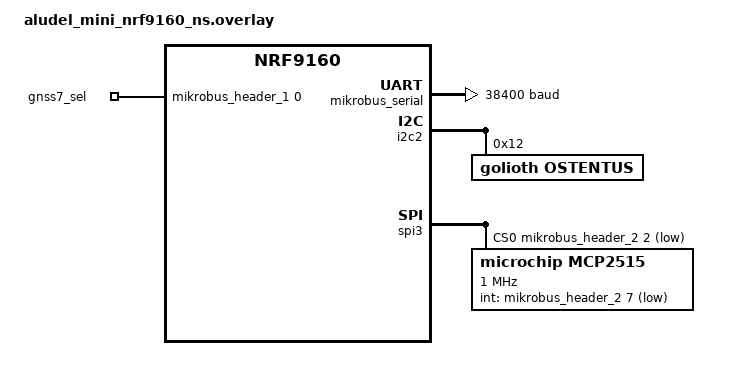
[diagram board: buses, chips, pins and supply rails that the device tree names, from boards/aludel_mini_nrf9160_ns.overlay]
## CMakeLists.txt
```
# Copyright (c) 2022-2023 Golioth, Inc.
# SPDX-License-Identifier: Apache-2.0

cmake_minimum_required(VERSION 3.20.0)

if((BOARD STREQUAL nrf9160dk_nrf9160) OR (BOARD STREQUAL nrf9160dk_nrf9160_ns))
  set(SHIELD "arduino_uno_click")
endif()

find_package(Zephyr REQUIRED HINTS $ENV{ZEPHYR_BASE})

project(can_asset_tracker)

include_directories(src/lib/inc)
add_compile_definitions(timegm=mktime)
target_sources(app PRIVATE src/lib/minmea/minmea.c)

target_sources(app PRIVATE src/main.c)
target_sources(app PRIVATE src/app_rpc.c)
target_sources(app PRIVATE src/app_settings.c)
target_sources(app PRIVATE src/app_state.c)
target_sources(app PRIVATE src/app_sensors.c)

add_subdirectory_ifdef(CONFIG_ALUDEL_BATTERY_MONITOR src/battery_monitor)
```

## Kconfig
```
# Copyright (c) 2022 Golioth, Inc.
# SPDX-License-Identifier: Apache-2.0

mainmenu "Golioth application options"

if DNS_RESOLVER

config DNS_SERVER_IP_ADDRESSES
	default y

config DNS_SERVER1
	default "1.1.1.1"

endif # DNS_RESOLVER

rsource "src/battery_monitor/Kconfig"

source "Kconfig.zephyr"

menu "Nordic Sta sample"

config CONNECTION_IDLE_TIMEOUT
	int "Time to be waited for a station to connect"
	default 30

config STA_SAMPLE_SSID
	string "SSID"
	help
	  Specify the SSID to connect

choice  STA_KEY_MGMT_SELECT
	prompt "Security Option"
	default STA_KEY_MGMT_WPA3

config STA_KEY_MGMT_NONE
	bool "Open Security"
	help
	  Enable for Open Security

config STA_KEY_MGMT_WPA2
	bool "WPA2 Security"
	help
	  Enable for WPA2 Security

config STA_KEY_MGMT_WPA2_256
	bool "WPA2 SHA 256 Security"
	help
	  Enable for WPA2-PSK-256 Security

config STA_KEY_MGMT_WPA3
	bool "WPA3 Security"
	help
	  Enable for WPA3 Security
endchoice

config STA_SAMPLE_PASSWORD
	string "Passphrase (WPA2) or password (WPA3)"
	help
	  Specify the Password to connect

config NRF700X_QSPI_ENCRYPTION_KEY
	string "16 bytes QSPI encryption key, only for testing purposes"
	depends on BOARD_NRF7002DK_NRF5340
	help
	  Specify the QSPI encryption key
endmenu
```

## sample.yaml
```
# Copyright (c) 2022-2023 Golioth, Inc.
# SPDX-License-Identifier: Apache-2.0

sample:
  description: Golioth Reference Design - CAN Asset Tracker
  name: can_asset_tracker
common:
  harness: net
  platform_allow: >
    nrf9160dk_nrf9160_ns
  tags: golioth
```

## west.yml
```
# Copyright (c) 2024 Golioth, Inc.
# SPDX-License-Identifier: Apache-2.0

manifest:
  version: 0.8

  projects:
    - name: golioth
      path: modules/lib/golioth-firmware-sdk
      revision: v0.16.0
      url: https://github.com/golioth/golioth-firmware-sdk.git
      west-commands: scripts/west-commands.yml
      submodules: true
      import:
        file: west-ncs.yml
        path-prefix: deps
        name-allowlist:
          - nrf
          - zephyr
          - cmsis
          - hal_nordic
          - mbedtls
          - mbedtls-nrf
          - mcuboot
          - net-tools
          - nrfxlib
          - oberon-psa-crypto
          - qcbor
          - segger
          - qcbor
          - tfm-mcuboot
          - tinycrypt
          - trusted-firmware-m
          - zcbor

    - name: golioth-zephyr-boards
      path: deps/modules/lib/golioth-boards
      revision: v2.0.1
      url: https://github.com/golioth/golioth-zephyr-boards

    - name: libostentus
      path: deps/modules/lib/libostentus
      revision: v2.0.0
      url: https://github.com/golioth/libostentus

    - name: zephyr-network-info
      path: deps/modules/lib/network-info
      revision: v1.2.0
      url: https://github.com/golioth/zephyr-network-info

    - name: minmea
      path: app/src/lib/minmea
      revision: 85439b97dd4984c5efb84ce954b85088e781dae8
      url: https://github.com/kosma/minmea.git

  self:
    path: app
```

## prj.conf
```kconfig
# Copyright (c) 2024 Golioth, Inc.
# SPDX-License-Identifier: Apache-2.0

# Enable Golioth Firmware SDK
CONFIG_GOLIOTH_FIRMWARE_SDK=y

# Golioth services used in this app
CONFIG_GOLIOTH_FW_UPDATE=y
CONFIG_GOLIOTH_LIGHTDB_STATE=y
CONFIG_LOG_BACKEND_GOLIOTH=y
CONFIG_GOLIOTH_RPC=y
CONFIG_GOLIOTH_SETTINGS=y
CONFIG_GOLIOTH_STREAM=y

# Enable common sample library
CONFIG_GOLIOTH_SAMPLE_COMMON=y

# Configure Golioth SDK dependencies
CONFIG_ZVFS_EVENTFD_MAX=14
CONFIG_ZVFS_OPEN_MAX=23
CONFIG_LOG_PROCESS_THREAD_STACK_SIZE=1536
CONFIG_MBEDTLS_ENABLE_HEAP=y
CONFIG_MBEDTLS_HEAP_SIZE=10240
CONFIG_MBEDTLS_SSL_IN_CONTENT_LEN=2048
CONFIG_MBEDTLS_SSL_OUT_CONTENT_LEN=2048
CONFIG_NETWORKING=y
CONFIG_NET_IPV4=y

# Application
CONFIG_MAIN_STACK_SIZE=2048
CONFIG_SYSTEM_WORKQUEUE_STACK_SIZE=2048
CONFIG_NET_LOG=y
CONFIG_NET_SHELL=y
CONFIG_REBOOT=y

# Flash memory (etc.) for firmware upgrade
CONFIG_FLASH=y
CONFIG_FLASH_MAP=y
CONFIG_NVS=y
CONFIG_STREAM_FLASH=y
CONFIG_IMG_MANAGER=y
CONFIG_IMG_ERASE_PROGRESSIVELY=y
CONFIG_REBOOT=y

# The rest of the runtime credentials config
CONFIG_SETTINGS=y
CONFIG_SETTINGS_RUNTIME=y
CONFIG_GOLIOTH_SAMPLE_SETTINGS=y
CONFIG_GOLIOTH_SAMPLE_SETTINGS_AUTOLOAD=y
CONFIG_GOLIOTH_SAMPLE_SETTINGS_SHELL=y

# Misc.
CONFIG_JSON_LIBRARY=y
CONFIG_NETWORK_INFO=y
# Longer response length needed for network info
CONFIG_GOLIOTH_RPC_MAX_RESPONSE_LEN=512
CONFIG_I2C=y
CONFIG_GPIO=y

# CAN interface
CONFIG_SERIAL=y
CONFIG_UART_INTERRUPT_DRIVEN=y
CONFIG_CAN=y
```

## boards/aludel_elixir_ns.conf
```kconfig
# Copyright (c) 2024 Golioth, Inc.
# SPDX-License-Identifier: Apache-2.0

# General config
CONFIG_HEAP_MEM_POOL_SIZE=4096
CONFIG_NEWLIB_LIBC=y
CONFIG_CBPRINTF_FP_SUPPORT=y

# Networking
CONFIG_NET_SOCKETS_OFFLOAD=y
CONFIG_NET_IPV6=y
CONFIG_NET_IPV6_NBR_CACHE=n
CONFIG_NET_IPV6_MLD=n

# Increase native TLS socket implementation, so that it is chosen instead of
# offloaded nRF91 sockets
CONFIG_NET_SOCKETS_TLS_PRIORITY=35

# Modem library
CONFIG_NRF_MODEM_LIB=y

# LTE connectivity with network connection manager
CONFIG_NRF_MODEM_LIB_NET_IF=y
CONFIG_NRF_MODEM_LIB_NET_IF_AUTO_START=y
CONFIG_NRF_MODEM_LIB_NET_IF_AUTO_CONNECT=n
CONFIG_NET_CONNECTION_MANAGER=y
CONFIG_NET_CONNECTION_MANAGER_MONITOR_STACK_SIZE=1024

# Add Logs for LTE Link Handler
CONFIG_GOLIOTH_SAMPLE_NRF91_LTE_MONITOR=y

# Disable options y-selected by NCS for no good reason
CONFIG_MBEDTLS_KEY_EXCHANGE_DHE_PSK_ENABLED=n
CONFIG_MBEDTLS_KEY_EXCHANGE_DHE_RSA_ENABLED=n

# MbedTLS configuration to support p-384 curve. These options
# enable using the MbedTLS built-in support for operations not
# supported by the default nRF Oberon crypto backend
CONFIG_NORDIC_SECURITY_BACKEND=n
CONFIG_MBEDTLS_LEGACY_CRYPTO_C=y

# Add Network Info Support
CONFIG_MODEM_INFO=y

# Generate MCUboot compatible images
CONFIG_BOOTLOADER_MCUBOOT=y

# Use Golioth Ostentus Faceplate
CONFIG_LIB_OSTENTUS=y

CONFIG_REGULATOR=y

# CAN init priority is lower than SPI init priority by default
# See https://github.com/zephyrproject-rtos/zephyr/issues/55745
CONFIG_CAN_INIT_PRIORITY=80
```

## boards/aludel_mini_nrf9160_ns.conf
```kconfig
# Copyright (c) 2024 Golioth, Inc.
# SPDX-License-Identifier: Apache-2.0

# General config
CONFIG_HEAP_MEM_POOL_SIZE=4096
CONFIG_NEWLIB_LIBC=y
CONFIG_CBPRINTF_FP_SUPPORT=y

# Networking
CONFIG_NET_SOCKETS_OFFLOAD=y
CONFIG_NET_IPV6=y
CONFIG_NET_IPV6_NBR_CACHE=n
CONFIG_NET_IPV6_MLD=n

# Increase native TLS socket implementation, so that it is chosen instead of
# offloaded nRF91 sockets
CONFIG_NET_SOCKETS_TLS_PRIORITY=35

# Modem library
CONFIG_NRF_MODEM_LIB=y

# LTE connectivity with network connection manager
CONFIG_NRF_MODEM_LIB_NET_IF=y
CONFIG_NRF_MODEM_LIB_NET_IF_AUTO_START=y
CONFIG_NRF_MODEM_LIB_NET_IF_AUTO_CONNECT=n
CONFIG_NET_CONNECTION_MANAGER=y
CONFIG_NET_CONNECTION_MANAGER_MONITOR_STACK_SIZE=1024

# Add Logs for LTE Link Handler
CONFIG_GOLIOTH_SAMPLE_NRF91_LTE_MONITOR=y

# Disable options y-selected by NCS for no good reason
CONFIG_MBEDTLS_KEY_EXCHANGE_DHE_PSK_ENABLED=n
CONFIG_MBEDTLS_KEY_EXCHANGE_DHE_RSA_ENABLED=n

# MbedTLS configuration to support p-384 curve. These options
# enable using the MbedTLS built-in support for operations not
# supported by the default nRF Oberon crypto backend
CONFIG_NORDIC_SECURITY_BACKEND=n
CONFIG_MBEDTLS_LEGACY_CRYPTO_C=y

# Battery Support
CONFIG_ALUDEL_BATTERY_MONITOR=y

# Add Network Info Support
CONFIG_MODEM_INFO=y

# Generate MCUboot compatible images
CONFIG_BOOTLOADER_MCUBOOT=y

# Use Golioth Ostentus Faceplate
CONFIG_LIB_OSTENTUS=y

# CAN init priority is lower than SPI init priority by default
# See https://github.com/zephyrproject-rtos/zephyr/issues/55745
CONFIG_CAN_INIT_PRIORITY=80
```

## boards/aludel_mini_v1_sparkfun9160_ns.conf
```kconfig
# Copyright (c) 2024 Golioth, Inc.
# SPDX-License-Identifier: Apache-2.0

# General config
CONFIG_HEAP_MEM_POOL_SIZE=4096
CONFIG_NEWLIB_LIBC=y
CONFIG_CBPRINTF_FP_SUPPORT=y

# Networking
CONFIG_NET_SOCKETS_OFFLOAD=y
CONFIG_NET_IPV6=y
CONFIG_NET_IPV6_NBR_CACHE=n
CONFIG_NET_IPV6_MLD=n

# Increase native TLS socket implementation, so that it is chosen instead of
# offloaded nRF91 sockets
CONFIG_NET_SOCKETS_TLS_PRIORITY=35

# Modem library
CONFIG_NRF_MODEM_LIB=y
CONFIG_NRF_MODEM_LIB_ON_FAULT_APPLICATION_SPECIFIC=y

# LTE connectivity with network connection manager
CONFIG_LTE_CONNECTIVITY=y
CONFIG_LTE_CONNECTIVITY_AUTO_CONNECT=n
CONFIG_NET_CONNECTION_MANAGER=y
CONFIG_NET_CONNECTION_MANAGER_MONITOR_STACK_SIZE=1024

# Add Logs for LTE Link Handler
CONFIG_GOLIOTH_SAMPLE_NRF91_LTE_MONITOR=y

# Disable options y-selected by NCS for no good reason
CONFIG_MBEDTLS_KEY_EXCHANGE_DHE_PSK_ENABLED=n
CONFIG_MBEDTLS_KEY_EXCHANGE_DHE_RSA_ENABLED=n

# Battery Support
CONFIG_ALUDEL_BATTERY_MONITOR=y

# Add Network Info Support
CONFIG_MODEM_INFO=y

# Generate MCUboot compatible images
CONFIG_BOOTLOADER_MCUBOOT=y

# Use Golioth Ostentus Faceplate
CONFIG_LIB_OSTENTUS=y

# CAN init priority is lower than SPI init priority by default
# See https://github.com/zephyrproject-rtos/zephyr/issues/55745
CONFIG_CAN_INIT_PRIORITY=80
```

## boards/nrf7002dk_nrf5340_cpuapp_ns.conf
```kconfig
#
# Copyright (c) 2022 Nordic Semiconductor ASA
#
# SPDX-License-Identifier: LicenseRef-Nordic-5-Clause
#
# Copyright (c) 2023 Golioth, Inc.
#
# SPDX-License-Identifier: Apache-2.0
#

CONFIG_WIFI=y
CONFIG_WIFI_NRF700X=y

# WPA supplicant
CONFIG_WPA_SUPP=y

# (Choose only one that applies or none for no WiFi password)
# CONFIG_STA_KEY_MGMT_NONE=y
CONFIG_STA_KEY_MGMT_WPA2=y
# CONFIG_STA_KEY_MGMT_WPA2_256=y
# CONFIG_STA_KEY_MGMT_WPA3=y

# System settings
CONFIG_NEWLIB_LIBC=y
CONFIG_NEWLIB_LIBC_NANO=n

# Networking
CONFIG_NET_SOCKETS=y
CONFIG_POSIX_API=y
CONFIG_NET_IPV4=y
CONFIG_NET_UDP=y
CONFIG_NET_TCP=y
CONFIG_NET_DHCPV4=y

CONFIG_NET_PKT_RX_COUNT=8
CONFIG_NET_PKT_TX_COUNT=8

# Below section is the primary contributor to SRAM and is currently
# tuned for performance, but this will be revisited in the future.
CONFIG_NET_BUF_RX_COUNT=16
CONFIG_NET_BUF_TX_COUNT=16
CONFIG_NET_BUF_DATA_SIZE=128
CONFIG_HEAP_MEM_POOL_SIZE=153600
CONFIG_NET_TC_TX_COUNT=0

CONFIG_NET_IF_UNICAST_IPV4_ADDR_COUNT=1
CONFIG_NET_MAX_CONTEXTS=5
CONFIG_NET_CONTEXT_SYNC_RECV=y

CONFIG_INIT_STACKS=y

CONFIG_NET_L2_ETHERNET=y

CONFIG_NET_CONFIG_SETTINGS=y

CONFIG_NET_SOCKETS_POLL_MAX=4

# Memories
CONFIG_SYSTEM_WORKQUEUE_STACK_SIZE=2048
CONFIG_NET_TX_STACK_SIZE=4096
CONFIG_NET_RX_STACK_SIZE=4096

# Debugging
CONFIG_STACK_SENTINEL=y
CONFIG_DEBUG_COREDUMP=y
CONFIG_DEBUG_COREDUMP_BACKEND_LOGGING=y
CONFIG_DEBUG_COREDUMP_MEMORY_DUMP_MIN=y
CONFIG_SHELL_CMDS_RESIZE=n


# Kernel options
CONFIG_ENTROPY_GENERATOR=y

CONFIG_POSIX_CLOCK=y

CONFIG_NET_MGMT_EVENT_STACK_SIZE=2048
CONFIG_PM=y

CONFIG_NET_CONFIG_MY_IPV4_ADDR="192.168.1.99"
CONFIG_NET_CONFIG_MY_IPV4_NETMASK="255.255.255.0"
CONFIG_NET_CONFIG_MY_IPV4_GW="192.168.1.1"
```

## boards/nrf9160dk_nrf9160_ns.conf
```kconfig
# Copyright (c) 2024 Golioth, Inc.
# SPDX-License-Identifier: Apache-2.0

# General config
CONFIG_HEAP_MEM_POOL_SIZE=4096
CONFIG_NEWLIB_LIBC=y
CONFIG_CBPRINTF_FP_SUPPORT=y

# Networking
CONFIG_NET_SOCKETS_OFFLOAD=y
CONFIG_NET_IPV6=y
CONFIG_NET_IPV6_NBR_CACHE=n
CONFIG_NET_IPV6_MLD=n

# Increase native TLS socket implementation, so that it is chosen instead of
# offloaded nRF91 sockets
CONFIG_NET_SOCKETS_TLS_PRIORITY=35

# Modem library
CONFIG_NRF_MODEM_LIB=y

# LTE connectivity with network connection manager
CONFIG_NRF_MODEM_LIB_NET_IF=y
CONFIG_NRF_MODEM_LIB_NET_IF_AUTO_START=y
CONFIG_NRF_MODEM_LIB_NET_IF_AUTO_CONNECT=n
CONFIG_NET_CONNECTION_MANAGER=y
CONFIG_NET_CONNECTION_MANAGER_MONITOR_STACK_SIZE=1024

# Add Logs for LTE Link Handler
CONFIG_GOLIOTH_SAMPLE_NRF91_LTE_MONITOR=y

# Disable options y-selected by NCS for no good reason
CONFIG_MBEDTLS_KEY_EXCHANGE_DHE_PSK_ENABLED=n
CONFIG_MBEDTLS_KEY_EXCHANGE_DHE_RSA_ENABLED=n

# MbedTLS configuration to support p-384 curve. These options
# enable using the MbedTLS built-in support for operations not
# supported by the default nRF Oberon crypto backend
CONFIG_NORDIC_SECURITY_BACKEND=n
CONFIG_MBEDTLS_LEGACY_CRYPTO_C=y

# Add Network Info Support
CONFIG_MODEM_INFO=y

# Generate MCUboot compatible images
CONFIG_BOOTLOADER_MCUBOOT=y

# CAN init priority is lower than SPI init priority by default
# See https://github.com/zephyrproject-rtos/zephyr/issues/55745
CONFIG_CAN_INIT_PRIORITY=80
```

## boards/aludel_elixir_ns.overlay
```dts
/*
 * Copyright (c) 2024 Golioth, Inc.
 *
 * SPDX-License-Identifier: Apache-2.0
 */

/ {
	chosen {
		zephyr,canbus = &mcp2515;
	};

	aliases {
		gnss7-sel = &gnss7_sel;
		click-uart = &mikrobus_serial;
	};

	gpio_logic {
		compatible = "gpio-leds";
		gnss7_sel: gnss7_sel {
			gpios = <&mikrobus_header_1 0 GPIO_ACTIVE_HIGH>; /* AN */
		};
	};
};

&qwiic_i2c {
	status = "okay";
};

&mikrobus_serial {
	status = "okay";
	current-speed = <38400>;
};

&mikrobus_spi {
	status = "okay";
	cs-gpios = <&mikrobus_header_2 2 GPIO_ACTIVE_LOW>;	/* CS */

	mcp2515: mcp2515@0 {
		compatible = "microchip,mcp2515";
		spi-max-frequency = <1000000>;
		int-gpios = <&mikrobus_header_2 7 GPIO_ACTIVE_LOW>; /* INT */
		status = "okay";
		reg = <0x0>;
		osc-freq = <10000000>;
		bus-speed = <500000>;
		sjw = <1>;
		sample-point = <875>;

		can-transceiver {
			max-bitrate = <1000000>;
		};
	};
};
```

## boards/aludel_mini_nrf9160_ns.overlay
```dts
/ {
	chosen {
		zephyr,canbus = &mcp2515;
	};

	aliases {
		gnss7-sel = &gnss7_sel;
	};

	gpio_logic {
		compatible = "gpio-leds";
		gnss7_sel: gnss7_sel {
			gpios = <&mikrobus_header_1 0 GPIO_ACTIVE_HIGH>; /* AN */
		};
	};
};

&mikrobus_serial {
	status = "okay";
	current-speed = <38400>;
};

&i2c2 {
    /* Needed for I2C writes used by libostentus */
    zephyr,concat-buf-size = <48>;

    ostentus@12 {
        status = "okay";
        compatible = "golioth,ostentus";
        reg = <0x12>;
    };
};

&spi3 {
	cs-gpios = <&mikrobus_header_2 2 GPIO_ACTIVE_LOW>; /* CS */

	mcp2515: mcp2515@0 {
		compatible = "microchip,mcp2515";
		spi-max-frequency = <1000000>;
		int-gpios = <&mikrobus_header_2 7 GPIO_ACTIVE_LOW>; /* INT */
		status = "okay";
		reg = <0x0>;
		osc-freq = <10000000>;
		bitrate = <500000>;
		sample-point = <875>;

		can-transceiver {
			max-bitrate = <1000000>;
		};
	};
};

&pinctrl {
	spi3_default: spi3_default {
		group1 {
			psels = <NRF_PSEL(SPIM_SCK, 0, 19)>,
				<NRF_PSEL(SPIM_MOSI, 0, 21)>,
				<NRF_PSEL(SPIM_MISO, 0, 22)>;
		};
	};

	spi3_sleep: spi3_sleep {
		group1 {
			psels = <NRF_PSEL(SPIM_SCK, 0, 19)>,
				<NRF_PSEL(SPIM_MOSI, 0, 21)>,
				<NRF_PSEL(SPIM_MISO, 0, 22)>;
			low-power-enable;
		};
	};
};
```

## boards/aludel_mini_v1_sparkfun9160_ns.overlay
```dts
/*
 * Copyright (c) 2024 Golioth, Inc.
 *
 * SPDX-License-Identifier: Apache-2.0
 */

/ {
	chosen {
		zephyr,canbus = &mcp2515;
	};

	aliases {
		gnss7-sel = &gnss7_sel;
	};

	gpio_logic {
		compatible = "gpio-leds";
		gnss7_sel: gnss7_sel {
			gpios = <&mikrobus_header_1 0 GPIO_ACTIVE_HIGH>; /* AN */
		};
	};
};

&mikrobus_serial {
	status = "okay";
	current-speed = <38400>;
};

&mikrobus_spi {
	status = "okay";

	mcp2515: mcp2515@1 {
		compatible = "microchip,mcp2515";
		spi-max-frequency = <1000000>;
		int-gpios = <&mikrobus_header_2 7 GPIO_ACTIVE_LOW>; /* INT */
		status = "okay";
		reg = <0x1>;
		osc-freq = <10000000>;
		bus-speed = <500000>;
		sjw = <1>;
		sample-point = <875>;

		can-transceiver {
			max-bitrate = <1000000>;
		};
	};
};
```

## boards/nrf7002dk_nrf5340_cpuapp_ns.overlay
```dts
/*
 * Copyright (c) 2023 Golioth, Inc.
 *
 * SPDX-License-Identifier: Apache-2.0
 */

 #include "nrf_dk_common.dtsi"

/ {
	aliases {
		golioth-led = &led0;
	};
};

/* arduino_i2c is i2c1 by default, but we need to use i2c2 */
/delete-node/ &arduino_i2c;

arduino_i2c: &i2c2 {
	compatible = "nordic,nrf-twim";
	status = "okay";
	pinctrl-0 = <&i2c2_default>;
	pinctrl-1 = <&i2c2_sleep>;
	pinctrl-names = "default", "sleep";
};

&pinctrl {
	i2c2_default: i2c2_default {
		group1 {
			psels = <NRF_PSEL(TWIM_SDA, 1, 2)>,
				<NRF_PSEL(TWIM_SCL, 1, 3)>;
		};
	};

	i2c2_sleep: i2c2_sleep {
		group1 {
			psels = <NRF_PSEL(TWIM_SDA, 1, 2)>,
				<NRF_PSEL(TWIM_SCL, 1, 3)>;
			low-power-enable;
		};
	};
};
```

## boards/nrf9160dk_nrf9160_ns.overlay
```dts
/*
 * Copyright (c) 2024 Golioth, Inc.
 *
 * SPDX-License-Identifier: Apache-2.0
 */

/ {
	chosen {
		zephyr,canbus = &mcp2515;
	};

	aliases {
		golioth-led = &led2;
		click-uart = &arduino_serial;
		gnss7-sel = &gnss7_sel;
	};

	gpio_logic {
		compatible = "gpio-leds";
		gnss7_sel: gnss7_sel {
			gpios = <&gpio0 15 GPIO_ACTIVE_HIGH>; /* AN */
		};
	};
};

&arduino_serial {
	status = "okay";
	current-speed = <38400>;
};

&arduino_spi {
	status = "okay";
	cs-gpios = <&gpio0 10 GPIO_ACTIVE_LOW>; /* CS */

	mcp2515: mcp2515@0 {
		compatible = "microchip,mcp2515";
		spi-max-frequency = <1000000>;
		int-gpios = <&gpio0 2 GPIO_ACTIVE_LOW>; /* INT */
		status = "okay";
		reg = <0x0>;
		osc-freq = <10000000>;
		bitrate = <500000>;
		sample-point = <875>;

		can-transceiver {
			max-bitrate = <1000000>;
		};
	};
};

&pinctrl {
	/*
	 * Arduino Uno provides the same SCL/SDA on two sets of pins, but the
	 * nRF9160-DK maps these pins to two different pairs of GPIO. When using
	 * the Arduino Uno Click Shield board, the P0.18/P0.19 pair must be used.
	 */
	i2c2_default: i2c2_default {
		group1 {
			psels = <NRF_PSEL(TWIM_SDA, 0, 18)>,
				<NRF_PSEL(TWIM_SCL, 0, 19)>;
		};
	};

	i2c2_sleep: i2c2_sleep {
		group1 {
			psels = <NRF_PSEL(TWIM_SDA, 0, 18)>,
				<NRF_PSEL(TWIM_SCL, 0, 19)>;
			low-power-enable;
		};
	};

	/*
	 * The default pin group includes RTS/CTS HW flow control, but the Arduino
	 * Uno Click Shield board does not connect these pins (only TX/RX are used).
	 * This keeps RX/TX on the same pins, but just removes RTS/CTS from the
	 * pin groups.
	 */
	uart1_default: uart1_default {
		group1 {
			psels = <NRF_PSEL(UART_TX, 0, 1)>,
				<NRF_PSEL(UART_RX, 0, 0)>;
		};
	};

	uart1_sleep: uart1_sleep {
		group1 {
			psels = <NRF_PSEL(UART_TX, 0, 1)>,
				<NRF_PSEL(UART_RX, 0, 0)>;
			low-power-enable;
		};
	};
};
```

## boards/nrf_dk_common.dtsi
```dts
/*
 * Copyright (c) 2023 Golioth, Inc.
 *
 * SPDX-License-Identifier: Apache-2.0
 */

 / {
	chosen {
		zephyr,canbus = &mcp2515;
	};

	aliases {
		click-uart = &arduino_serial;
		click-i2c = &arduino_i2c;
		gnss7-sel = &gnss7_sel;
	};

	gpio_logic {
		compatible = "gpio-leds";
		gnss7_sel: gnss7_sel {
			gpios = <&arduino_header 1 GPIO_ACTIVE_HIGH>; /* A1 */
		};
	};
};

&arduino_serial {
	status = "okay";
	current-speed = <38400>;
};

&arduino_i2c {
	/* Needed for I2C writes used by libostentus */
	zephyr,concat-buf-size = <48>;
};

&arduino_spi {
	status = "okay";

	mcp2515: mcp2515@0 {
		compatible = "microchip,mcp2515";
		spi-max-frequency = <1000000>;
		int-gpios = <&arduino_header 8 GPIO_ACTIVE_LOW>; /* D2 */
		status = "okay";
		reg = <0x0>;
		osc-freq = <10000000>;
		bus-speed = <500000>;
		sjw = <1>;
		sample-point = <875>;

		can-transceiver {
			max-bitrate = <1000000>;
		};
	};
};
```

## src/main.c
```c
/*
 * Copyright (c) 2022-2023 Golioth, Inc.
 *
 * SPDX-License-Identifier: Apache-2.0
 */

#include <zephyr/logging/log.h>
LOG_MODULE_REGISTER(golioth_can_asset_tracker, LOG_LEVEL_DBG);

#include <app_version.h>
#include "app_rpc.h"
#include "app_settings.h"
#include "app_state.h"
#include "app_sensors.h"
#include <golioth/client.h>
#include <golioth/fw_update.h>
#include <samples/common/net_connect.h>
#include <samples/common/sample_credentials.h>
#include <zephyr/kernel.h>

#ifdef CONFIG_SOC_NRF9160
#include <modem/lte_lc.h>
#endif
#ifdef CONFIG_LIB_OSTENTUS
#include <libostentus.h>
#include <libostentus_regmap.h>
static const struct device *o_dev = DEVICE_DT_GET_ANY(golioth_ostentus);
#endif
#ifdef CONFIG_ALUDEL_BATTERY_MONITOR
#include "battery_monitor/battery.h"
#endif

#include <zephyr/drivers/gpio.h>

#ifdef CONFIG_MODEM_INFO
#include <modem/modem_info.h>
#endif

/* Current firmware version; update in VERSION */
static const char *_current_version =
    STRINGIFY(APP_VERSION_MAJOR) "." STRINGIFY(APP_VERSION_MINOR) "." STRINGIFY(APP_PATCHLEVEL);

static struct golioth_client *client;
K_SEM_DEFINE(connected, 0, 1);

static k_tid_t _system_thread = 0;

#if DT_NODE_EXISTS(DT_ALIAS(golioth_led))
static const struct gpio_dt_spec golioth_led = GPIO_DT_SPEC_GET(DT_ALIAS(golioth_led), gpios);
#endif /* DT_NODE_EXISTS(DT_ALIAS(golioth_led)) */
static const struct gpio_dt_spec user_btn = GPIO_DT_SPEC_GET(DT_ALIAS(sw1), gpios);
static struct gpio_callback button_cb_data;

/* forward declarations */
void golioth_connection_led_set(uint8_t state);

void wake_system_thread(void)
{
	k_wakeup(_system_thread);
}

static void on_client_event(struct golioth_client *client, enum golioth_client_event event,
			    void *arg)
{
	bool is_connected = (event == GOLIOTH_CLIENT_EVENT_CONNECTED);

	if (is_connected) {
		k_sem_give(&connected);
		golioth_connection_led_set(1);
	}
	LOG_INF("Golioth client %s", is_connected ? "connected" : "disconnected");
}

static void start_golioth_client(void)
{
	/* Get the client configuration from auto-loaded settings */
	const struct golioth_client_config *client_config = golioth_sample_credentials_get();

	/* Create and start a Golioth Client */
	client = golioth_client_create(client_config);

	/* Register Golioth on_connect callback */
	golioth_client_register_event_callback(client, on_client_event, NULL);

	/* Initialize DFU components */
	golioth_fw_update_init(client, _current_version);

	/*** Call Golioth APIs for other services in dedicated app files ***/

	/* Observe State service data */
	app_state_observe(client);

	/* Set Golioth Client for streaming sensor data */
	app_sensors_set_client(client);

	/* Register Settings service */
	app_settings_register(client);

	/* Register RPC service */
	app_rpc_register(client);
}

#ifdef CONFIG_SOC_NRF9160

static void lte_handler(const struct lte_lc_evt *const evt)
{
	if (evt->type == LTE_LC_EVT_NW_REG_STATUS) {

		if ((evt->nw_reg_status == LTE_LC_NW_REG_REGISTERED_HOME) ||
		    (evt->nw_reg_status == LTE_LC_NW_REG_REGISTERED_ROAMING)) {

			/* Change the state of the Internet LED on Ostentus */
			IF_ENABLED(CONFIG_LIB_OSTENTUS, (ostentus_led_internet_set(o_dev, 1);));

			if (!client) {
				/* Create and start a Golioth Client */
				start_golioth_client();
			}
		}
	}
}

#endif /* CONFIG_SOC_NRF9160 */

#ifdef CONFIG_MODEM_INFO
static void log_modem_firmware_version(void)
{
	char sbuf[128];

	/* Initialize modem info */
	int err = modem_info_init();

	if (err) {
		LOG_ERR("Failed to initialize modem info: %d", err);
	}

	/* Log modem firmware version */
	modem_info_string_get(MODEM_INFO_FW_VERSION, sbuf, sizeof(sbuf));
	LOG_INF("Modem firmware version: %s", sbuf);
}
#endif

void button_pressed(const struct device *dev, struct gpio_callback *cb, uint32_t pins)
{
	LOG_DBG("Button pressed at %d", k_cycle_get_32());
	/* This function is an Interrupt Service Routine. Do not call functions that
	 * use other threads, or perform long-running operations here
	 */
	k_wakeup(_system_thread);
}

/* Set (unset) LED indicators for active Golioth connection */
void golioth_connection_led_set(uint8_t state)
{
	uint8_t pin_state = state ? 1 : 0;
#if DT_NODE_EXISTS(DT_ALIAS(golioth_led))
	/* Turn on Golioth logo LED once connected */
	gpio_pin_set_dt(&golioth_led, pin_state);
#endif /* DT_NODE_EXISTS(DT_ALIAS(golioth_led)) */
	/* Change the state of the Golioth LED on Ostentus */
	IF_ENABLED(CONFIG_LIB_OSTENTUS, (ostentus_led_golioth_set(o_dev, pin_state);));
}

int main(void)
{
	int err;

	/* Initialize sensors */
	app_sensors_init();

	LOG_DBG("Started CAN Asset Tracker app");

	LOG_INF("Firmware version: %s", _current_version);
	IF_ENABLED(CONFIG_MODEM_INFO, (log_modem_firmware_version();));

	IF_ENABLED(CONFIG_LIB_OSTENTUS, (
		/* Reset Ostentus and pause for reboot */
		ostentus_reset(o_dev);
		k_msleep(300);

		/* Read firmware version from faceplate */
		char *o_version = (char *)calloc(32, sizeof(char));

		ostentus_version_get(o_dev, o_version, 32);
		LOG_INF("Ostentus reports firmware version: %s", o_version);
		free(o_version);

		/* Update Ostentus LEDS using bitmask (Power On and Battery) */
		ostentus_led_bitmask(o_dev, LED_POW | LED_BAT);

		/* Show Golioth Logo on Ostentus ePaper screen */
		ostentus_show_splash(o_dev);
	));

	/* Get system thread id so loop delay change event can wake main */
	_system_thread = k_current_get();

#if DT_NODE_EXISTS(DT_ALIAS(golioth_led))
	/* Initialize Golioth logo LED */
	err = gpio_pin_configure_dt(&golioth_led, GPIO_OUTPUT_INACTIVE);
	if (err) {
		LOG_ERR("Unable to configure LED for Golioth Logo");
	}
#endif /* DT_NODE_EXISTS(DT_ALIAS(golioth_led)) */

#ifdef CONFIG_SOC_NRF9160
	/* Start LTE asynchronously if the nRF9160 is used.
	 * Golioth Client will start automatically when LTE connects
	 */

	LOG_INF("Connecting to LTE, this may take some time...");
	lte_lc_connect_async(lte_handler);

#else
	/* If nRF9160 is not used, start the Golioth Client and block until connected */

	/* Run WiFi/DHCP if necessary */
	if (IS_ENABLED(CONFIG_GOLIOTH_SAMPLE_COMMON)) {
		net_connect();
	}

	/* Start Golioth client */
	start_golioth_client();

	/* Block until connected to Golioth */
	k_sem_take(&connected, K_FOREVER);
#endif /* CONFIG_SOC_NRF9160 */

	/* Set up user button */
	err = gpio_pin_configure_dt(&user_btn, GPIO_INPUT);
	if (err) {
		LOG_ERR("Error %d: failed to configure %s pin %d", err, user_btn.port->name,
			user_btn.pin);
		return err;
	}

	err = gpio_pin_interrupt_configure_dt(&user_btn, GPIO_INT_EDGE_TO_ACTIVE);
	if (err) {
		LOG_ERR("Error %d: failed to configure interrupt on %s pin %d", err,
			user_btn.port->name, user_btn.pin);
		return err;
	}

	gpio_init_callback(&button_cb_data, button_pressed, BIT(user_btn.pin));
	gpio_add_callback(user_btn.port, &button_cb_data);

	IF_ENABLED(CONFIG_LIB_OSTENTUS, (
		/* Set up a slideshow on Ostentus
		 *  - add up to 256 slides
		 *  - use the enum in app_sensors.h to add new keys
		 *  - values are updated using these keys (see app_sensors.c)
		 */
		ostentus_slide_add(o_dev, LATITUDE, LABEL_LATITUDE, strlen(LABEL_LATITUDE));
		ostentus_slide_add(o_dev, LONGITUDE, LABEL_LONGITUDE, strlen(LABEL_LONGITUDE));
		ostentus_slide_add(o_dev, VEHICLE_SPEED, LABEL_VEHICLE_SPEED, strlen(LABEL_VEHICLE_SPEED));
		IF_ENABLED(CONFIG_ALUDEL_BATTERY_MONITOR, (
			ostentus_slide_add(o_dev,
					   BATTERY_V,
					   LABEL_BATTERY,
					   strlen(LABEL_BATTERY));
			ostentus_slide_add(o_dev,
					   BATTERY_LVL,
					   LABEL_BATTERY,
					   strlen(LABEL_BATTERY));
		));
		ostentus_slide_add(o_dev, FIRMWARE, LABEL_FIRMWARE, strlen(LABEL_FIRMWARE));

		/* Set the title of the Ostentus summary slide (optional) */
		ostentus_summary_title(o_dev, SUMMARY_TITLE, strlen(SUMMARY_TITLE));

		/* Update the Firmware slide with the firmware version */
		ostentus_slide_set(o_dev, FIRMWARE, (char *)_current_version,
			  strlen(_current_version));

		/* Start Ostentus slideshow with 30 second delay between slides */
		ostentus_slideshow(o_dev, 30000);
	));

	while (true) {
		app_sensors_read_and_stream();

		k_sleep(K_SECONDS(get_loop_delay_s()));
	}
}
```

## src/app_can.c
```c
/*
 * Copyright (c) 2023 Golioth, Inc.
 *
 * SPDX-License-Identifier: Apache-2.0
 */

#include <zephyr/kernel.h>
#include <zephyr/kernel/thread_stack.h>
#include <zephyr/sys/byteorder.h>
#include <zephyr/device.h>
#include <zephyr/drivers/can.h>
#include <zephyr/logging/log.h>
#include <qcbor/qcbor_encode.h>
#include <net/golioth/system_client.h>

#include "app_can.h"

#define CAN_LISTENER_THREAD_STACK_SIZE 2048
#define CAN_LISTENER_THREAD_PRIORITY 2
#define COUNTER_MSG_ID 0x244

static struct golioth_client *client;
const struct device *const can_dev = DEVICE_DT_GET(DT_CHOSEN(zephyr_canbus));
struct k_thread can_listener_thread_data;

LOG_MODULE_REGISTER(app_can, LOG_LEVEL_DBG);
K_THREAD_STACK_DEFINE(can_listener_thread_stack, CAN_LISTENER_THREAD_STACK_SIZE);
CAN_MSGQ_DEFINE(can_frame_msgq, 4);
K_MSGQ_DEFINE(can_msgq, sizeof(struct can_msg), 64, 4);

/* Listens for CAN frames matching the filter and puts them in can_frame_msgq */
void can_listener_thread(void *arg1, void *arg2, void *arg3)
{
	ARG_UNUSED(arg1);
	ARG_UNUSED(arg2);
	ARG_UNUSED(arg3);
	int err, filter_id;
	struct can_frame frame;
	struct can_msg msg;
	const struct can_filter filter = {
		.flags = CAN_FILTER_DATA | CAN_FILTER_IDE,
		.id = COUNTER_MSG_ID,
		.mask = CAN_EXT_ID_MASK
	};

	/* Automatically put frames matching the filter into can_frame_msgq */
	filter_id = can_add_rx_filter_msgq(can_dev, &can_frame_msgq, &filter);
	if (filter_id == -ENOSPC) {
		LOG_ERR("No free CAN filters [%d]", filter_id);
		return;
	} else if (filter_id == -ENOTSUP) {
		LOG_ERR("CAN filter type not supported [%d]", filter_id);
		return;
	} else if (filter_id != 0) {
		LOG_ERR("Error adding a message queue for the given filter [%d]", filter_id);
		return;
	}
	LOG_DBG("CAN bus receive filter id: %d", filter_id);

	while (1) {
		k_msgq_get(&can_frame_msgq, &frame, K_FOREVER);

		/*
		 * LOG_HEXDUMP_INF(frame.data, frame.dlc, "CAN frame data:");
		 *
		 * uint16_t kmh = sys_be16_to_cpu(UNALIGNED_GET((uint16_t *)&frame.data[3])) / 100;
		 * uint16_t mph = (uint16_t)(kmh * 0.6213751);
		 * LOG_DBG("MPH: %u", mph);
		 */

		msg.timestamp = k_uptime_get();
		msg.frame = frame;

		err = k_msgq_put(&can_msgq, &msg, K_NO_WAIT);
		if (err) {
			LOG_ERR("Unable to add CAN message to queue: %d", err);
		}
	}
}

int can_listener_init(struct golioth_client *listener_client)
{
	int ret;
	k_tid_t rx_tid;

	LOG_DBG("Initializing CAN listener");

	client = listener_client;

	if (!device_is_ready(can_dev)) {
		LOG_ERR("CAN device %s not ready", can_dev->name);
		return -ENODEV;
	}

	/* Start the CAN controller */
	ret = can_start(can_dev);
	if (ret == -EALREADY) {
		LOG_ERR("CAN controller already started [%d]", ret);
		return ret;
	} else if (ret != 0) {
		LOG_ERR("Error starting CAN controller [%d]", ret);
		return ret;
	}

	/* Spawn a thread to listen for CAN frames and put them in can_frame_msgq */
	rx_tid = k_thread_create(&can_listener_thread_data, can_listener_thread_stack,
				 K_THREAD_STACK_SIZEOF(can_listener_thread_stack),
				 can_listener_thread, NULL, NULL, NULL,
				 CAN_LISTENER_THREAD_PRIORITY, 0, K_NO_WAIT);
	if (!rx_tid) {
		LOG_ERR("Error spawning CAN receive thread");
	}

	return 0;
}
```

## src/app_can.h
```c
/*
 * Copyright (c) 2023 Golioth, Inc.
 *
 * SPDX-License-Identifier: Apache-2.0
 */

#ifndef __APP_CAN_H__
#define __APP_CAN_H__

#include <zephyr/kernel.h>
#include <zephyr/drivers/can.h>

struct can_msg {
	int64_t timestamp;
	struct can_frame frame;
};

extern struct k_msgq can_msgq;

int can_listener_init(struct golioth_client *listener_client);

#endif /* __APP_CAN_H__ */
```

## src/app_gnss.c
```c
/*
 * Copyright (c) 2022 Golioth, Inc.
 *
 * SPDX-License-Identifier: Apache-2.0
 */

#include <zephyr/logging/log.h>
#include <zephyr/device.h>
#include <zephyr/drivers/gpio.h>
#include <zephyr/drivers/uart.h>

#include "app_settings.h"
#include "app_gnss.h"
#include "lib/minmea/minmea.h"

LOG_MODULE_REGISTER(app_gnss, LOG_LEVEL_DBG);

#define UART_DEVICE_NODE DT_ALIAS(click_uart)
static const struct device *const uart_dev = DEVICE_DT_GET(UART_DEVICE_NODE);

#define UART_SEL DT_ALIAS(gnss7_sel)
static const struct gpio_dt_spec gnss7_sel = GPIO_DT_SPEC_GET(UART_SEL, gpios);

#define NMEA_SIZE 128

K_MSGQ_DEFINE(rmc_msgq, sizeof(struct rmc_msg), 64, 4);

/* This is called from the UART irq callback to try to get out fast */
static void process_reading(char *raw_nmea)
{
	static uint64_t last_gps;
	enum minmea_sentence_id sid;
	bool success;
	uint64_t wait_for;
	struct rmc_msg msg;

	sid = minmea_sentence_id(raw_nmea, false);
	if (sid == MINMEA_SENTENCE_RMC) {
		success = minmea_parse_rmc(&msg.frame, raw_nmea);
		if (success) {
			wait_for = last_gps;
			if (k_uptime_delta(&wait_for) >= ((uint64_t)get_gps_delay_s() * 1000)) {
				if (msg.frame.valid == true) {
					msg.timestamp = k_uptime_get();
					/* if queue is full, message is silently dropped */
					k_msgq_put(&rmc_msgq, &msg, K_NO_WAIT);

					/* wait_for now contains the current timestamp. Store this
					 * for the next reading.
					 */
					last_gps = wait_for;
				} else {
					LOG_DBG("Skipping because satellite fix not established");
				}
			} else {
				/* LOG_DBG("Ignoring reading due to gps_delay_s window"); */
			}
		}
	}
}

/* UART callback */
void serial_cb(const struct device *dev, void *user_data)
{
	uint8_t c;
	static char rx_buf[NMEA_SIZE];
	static int rx_buf_pos;

	if (!uart_irq_update(uart_dev)) {
		return;
	}

	while (uart_irq_rx_ready(uart_dev)) {

		uart_fifo_read(uart_dev, &c, 1);

		if ((c == '\n') && rx_buf_pos > 0) {
			/* terminate string */
			if (rx_buf_pos == (NMEA_SIZE - 1)) {
				rx_buf[rx_buf_pos] = '\0';
			} else {
				rx_buf[rx_buf_pos] = '\n';
				rx_buf[rx_buf_pos+1] = '\0';
			}

			process_reading(rx_buf);
			/* reset the buffer (it was copied to the msgq) */
			rx_buf_pos = 0;
		} else if (rx_buf_pos < (sizeof(rx_buf) - 1)) {
			rx_buf[rx_buf_pos++] = c;
		}
		/* else: characters beyond buffer size are dropped */
	}
}

int gnss_init(void)
{
	int err;

	LOG_INF("Initializing GNSS");

	if (!device_is_ready(uart_dev)) {
		LOG_ERR("UART device %s not ready", uart_dev->name);
		return -ENODEV;
	}

	err = gpio_pin_configure_dt(&gnss7_sel, GPIO_OUTPUT_ACTIVE);
	if (err < 0) {
		LOG_ERR("Unable to configure GNSS SEL Pin: %d", err);
		return err;
	}

	/* configure interrupt and callback to receive data */
	uart_irq_callback_user_data_set(uart_dev, serial_cb, NULL);
	uart_irq_rx_enable(uart_dev);

	return 0;
}
```

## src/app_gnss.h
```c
/*
 * Copyright (c) 2023 Golioth, Inc.
 *
 * SPDX-License-Identifier: Apache-2.0
 */

#ifndef __APP_GNSS_H__
#define __APP_GNSS_H__

#include <zephyr/kernel.h>

#include "lib/minmea/minmea.h"

struct rmc_msg {
	int64_t timestamp;
	struct minmea_sentence_rmc frame;
};

extern struct k_msgq rmc_msgq;

int gnss_init(void);

#endif /* __APP_GNSS_H__ */
```

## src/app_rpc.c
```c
/*
 * Copyright (c) 2024 Golioth, Inc.
 *
 * SPDX-License-Identifier: Apache-2.0
 */

#include <zephyr/logging/log.h>
LOG_MODULE_REGISTER(app_rpc, LOG_LEVEL_DBG);

#include <golioth/client.h>
#include <golioth/rpc.h>
#include <zephyr/logging/log_ctrl.h>
#include <zephyr/sys/reboot.h>

#include <network_info.h>
#include "app_rpc.h"

static void reboot_work_handler(struct k_work *work)
{
	for (int8_t i = 5; i >= 0; i--) {
		if (i) {
			LOG_INF("Rebooting in %d seconds...", i);
		}
		k_sleep(K_SECONDS(1));
	}

	/* Sync logs before reboot */
	LOG_PANIC();

	sys_reboot(SYS_REBOOT_COLD);
}
K_WORK_DEFINE(reboot_work, reboot_work_handler);

static enum golioth_rpc_status on_get_network_info(zcbor_state_t *request_params_array,
						   zcbor_state_t *response_detail_map,
						   void *callback_arg)
{
	network_info_add_to_map(response_detail_map);

	return GOLIOTH_RPC_OK;
}

static enum golioth_rpc_status on_set_log_level(zcbor_state_t *request_params_array,
						zcbor_state_t *response_detail_map,
						void *callback_arg)
{
	double param_0;
	uint8_t log_level;
	bool ok;

	LOG_WRN("on_set_log_level");

	ok = zcbor_float_decode(request_params_array, &param_0);
	if (!ok) {
		LOG_ERR("Failed to decode array item");
		return GOLIOTH_RPC_INVALID_ARGUMENT;
	}

	log_level = (uint8_t)param_0;

	if ((log_level < 0) || (log_level > LOG_LEVEL_DBG)) {

		LOG_ERR("Requested log level is out of bounds: %d", log_level);
		return GOLIOTH_RPC_INVALID_ARGUMENT;
	}

	int source_id = 0;
	char *source_name;

	while (1) {
		source_name = (char *)log_source_name_get(0, source_id);
		if (source_name == NULL) {
			break;
		}

		log_filter_set(NULL, 0, source_id, log_level);
		++source_id;
	}

	LOG_WRN("Log levels for %d modules set to: %d", source_id, log_level);

	ok = zcbor_tstr_put_lit(response_detail_map, "log_modules") &&
	     zcbor_float64_put(response_detail_map, (double)source_id);

	return GOLIOTH_RPC_OK;
}

static enum golioth_rpc_status on_reboot(zcbor_state_t *request_params_array,
					 zcbor_state_t *response_detail_map,
					 void *callback_arg)
{
	/* Use work queue so this RPC can return confirmation to Golioth */
	k_work_submit(&reboot_work);

	return GOLIOTH_RPC_OK;
}

static void rpc_log_if_register_failure(int err)
{
	if (err) {
		LOG_ERR("Failed to register RPC: %d", err);
	}
}

void app_rpc_register(struct golioth_client *client)
{
	struct golioth_rpc *rpc = golioth_rpc_init(client);

	int err;

	err = golioth_rpc_register(rpc, "get_network_info", on_get_network_info, NULL);
	rpc_log_if_register_failure(err);

	err = golioth_rpc_register(rpc, "reboot", on_reboot, NULL);
	rpc_log_if_register_failure(err);

	err = golioth_rpc_register(rpc, "set_log_level", on_set_log_level, NULL);
	rpc_log_if_register_failure(err);
}
```

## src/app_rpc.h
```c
/*
 * Copyright (c) 2024 Golioth, Inc.
 *
 * SPDX-License-Identifier: Apache-2.0
 */

/**
 * Handle remote procedure calls received from Golioth, returning a status code
 * indicating the success or failure of the call.
 *
 * https://docs.golioth.io/firmware/zephyr-device-sdk/remote-procedure-call
 */

#ifndef __APP_RPC_H__
#define __APP_RPC_H__

#include <golioth/client.h>

void app_rpc_register(struct golioth_client *client);

#endif /* __APP_RPC_H__ */
```

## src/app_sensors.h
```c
/*
 * Copyright (c) 2024 Golioth, Inc.
 *
 * SPDX-License-Identifier: Apache-2.0
 */

#ifndef __APP_SENSORS_H__
#define __APP_SENSORS_H__

/** The `app_sensors.c` file performs the important work of this application
 * which is to read sensor values and report them to the Golioth LightDB Stream
 * as time-series data.
 *
 * https://docs.golioth.io/firmware/zephyr-device-sdk/light-db-stream/
 */

#include <golioth/client.h>

void app_sensors_set_client(struct golioth_client *sensors_client);
void app_sensors_read_and_stream(void);
void app_sensors_init(void);

#define LABEL_LATITUDE	    "Latitude"
#define LABEL_LONGITUDE	    "Longitude"
#define LABEL_VEHICLE_SPEED "Speed"
#define LABEL_BATTERY	    "Battery"
#define LABEL_FIRMWARE	    "Firmware"
#define SUMMARY_TITLE	    "Asset Tracker"

/**
 * Each Ostentus slide needs a unique key. You may add additional slides by
 * inserting elements with the name of your choice to this enum.
 */
typedef enum {
	LATITUDE,
	LONGITUDE,
	VEHICLE_SPEED,
#ifdef CONFIG_ALUDEL_BATTERY_MONITOR
	BATTERY_V,
	BATTERY_LVL,
#endif
	FIRMWARE
} slide_key;

#endif /* __APP_SENSORS_H__ */
```

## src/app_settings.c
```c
/*
 * Copyright (c) 2024 Golioth, Inc.
 *
 * SPDX-License-Identifier: Apache-2.0
 */

#include <zephyr/logging/log.h>
LOG_MODULE_REGISTER(app_settings, LOG_LEVEL_DBG);

#include <golioth/client.h>
#include <golioth/settings.h>
#include "main.h"
#include "app_settings.h"

/* How long to wait between uploading to Golioth */
static int32_t _loop_delay_s = 5;
#define LOOP_DELAY_S_MAX 43200
#define LOOP_DELAY_S_MIN 1

/* How long to wait between GPS readings */
static int32_t _gps_delay_s = 3;
#define GPS_DELAY_S_MAX 43200
#define GPS_DELAY_S_MIN 0

/* Fake GPS control */
static bool _fake_gps_enabled_s;

/* Fake GPS latitude value */
static float _fake_gps_latitude_s = 37.789980;
#define FAKE_GPS_LATITUDE_S_MAX 90.0
#define FAKE_GPS_LATITUDE_S_MIN -90.0

/* Fake GPS longitude value */
static float _fake_gps_longitude_s = -122.400860;
#define FAKE_GPS_LONGITUDE_S_MAX 180.0
#define FAKE_GPS_LONGITUDE_S_MIN -180.0

/* How long to wait between vehicle speed readings */
static int32_t _vehicle_speed_delay_s = 1;
#define VEHICLE_SPEED_DELAY_S_MAX 43200
#define VEHICLE_SPEED_DELAY_S_MIN 0

int32_t get_loop_delay_s(void)
{
	return _loop_delay_s;
}

int32_t get_gps_delay_s(void)
{
	return _gps_delay_s;
}

bool get_fake_gps_enabled_s(void)
{
	return _fake_gps_enabled_s;
}

float get_fake_gps_latitude_s(void)
{
	return _fake_gps_latitude_s;
}

float get_fake_gps_longitude_s(void)
{
	return _fake_gps_longitude_s;
}

int32_t get_vehicle_speed_delay_s(void)
{
	return _vehicle_speed_delay_s;
}

static enum golioth_settings_status on_loop_delay_setting(int32_t new_value, void *arg)
{
	_loop_delay_s = new_value;
	LOG_INF("Set loop delay to %i seconds", new_value);
	wake_system_thread();
	return GOLIOTH_SETTINGS_SUCCESS;
}

static enum golioth_settings_status on_gps_delay_setting(int32_t new_value, void *arg)
{
	_gps_delay_s = new_value;
	LOG_INF("Set GPS delay to %i seconds", new_value);
	return GOLIOTH_SETTINGS_SUCCESS;
}

static enum golioth_settings_status on_fake_gps_enabled_setting(bool new_value, void *arg)
{
	_fake_gps_enabled_s = new_value;
	LOG_INF("Enable fake GPS location: %s", new_value ? "true" : "false");
	return GOLIOTH_SETTINGS_SUCCESS;
}

static enum golioth_settings_status on_fake_gps_latitude_setting(float new_value, void *arg)
{
	if ((new_value < (float) FAKE_GPS_LATITUDE_S_MIN) ||
	    (new_value > (float) FAKE_GPS_LATITUDE_S_MAX)) {
		LOG_ERR("Invalid fake GPS latitude: %.5f", (double) new_value);
		return GOLIOTH_SETTINGS_VALUE_OUTSIDE_RANGE;
	}
	_fake_gps_latitude_s = new_value;
	LOG_INF("Set fake GPS latitude to %.5f degrees", (double) new_value);
	return GOLIOTH_SETTINGS_SUCCESS;
}

static enum golioth_settings_status on_fake_gps_longitude_setting(float new_value, void *arg)
{
	if ((new_value < (float) FAKE_GPS_LONGITUDE_S_MIN) ||
	    (new_value > (float) FAKE_GPS_LONGITUDE_S_MAX)) {
		LOG_ERR("Invalid fake GPS longitude: %.5f", (double) new_value);
		return GOLIOTH_SETTINGS_VALUE_OUTSIDE_RANGE;
	}
	_fake_gps_longitude_s = new_value;
	LOG_INF("Set fake GPS longitude to %.5f degrees", (double) new_value);
	return GOLIOTH_SETTINGS_SUCCESS;
}

static enum golioth_settings_status on_vehicle_speed_delay_setting(int32_t new_value, void *arg)
{
	_vehicle_speed_delay_s = new_value;
	LOG_INF("Set vehicle speed delay to %i seconds", new_value);
	return GOLIOTH_SETTINGS_SUCCESS;
}

void app_settings_register(struct golioth_client *client)
{
	int err;
	struct golioth_settings *settings = golioth_settings_init(client);

	err = golioth_settings_register_int_with_range(settings, "LOOP_DELAY_S", LOOP_DELAY_S_MIN,
						       LOOP_DELAY_S_MAX, on_loop_delay_setting,
						       NULL);
	if (err) {
		LOG_ERR("Failed to register on_loop_delay_setting callback: %d", err);
	}

	err = golioth_settings_register_int_with_range(settings, "GPS_DELAY_S", GPS_DELAY_S_MIN,
						       GPS_DELAY_S_MAX, on_gps_delay_setting, NULL);
	if (err) {
		LOG_ERR("Failed to register on_gps_delay_setting callback: %d", err);
	}

	err = golioth_settings_register_bool(settings, "FAKE_GPS_ENABLED",
					     on_fake_gps_enabled_setting, NULL);
	if (err) {
		LOG_ERR("Failed to register on_fake_gps_enabled_setting callback: %d", err);
	}

	err = golioth_settings_register_float(settings, "FAKE_GPS_LATITUDE",
					      on_fake_gps_latitude_setting, NULL);
	if (err) {
		LOG_ERR("Failed to register on_fake_gps_latitude_setting callback: %d", err);
	}

	err = golioth_settings_register_float(settings, "FAKE_GPS_LONGITUDE",
					      on_fake_gps_longitude_setting, NULL);
	if (err) {
		LOG_ERR("Failed to register on_fake_gps_longitude_setting callback: %d", err);
	}

	err = golioth_settings_register_int_with_range(
		settings, "VEHICLE_SPEED_DELAY_S", VEHICLE_SPEED_DELAY_S_MIN,
		VEHICLE_SPEED_DELAY_S_MAX, on_vehicle_speed_delay_setting, NULL);
	if (err) {
		LOG_ERR("Failed to register on_vehicle_speed_delay_setting callback: %d", err);
	}
}
```

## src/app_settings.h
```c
/*
 * Copyright (c) 2024 Golioth, Inc.
 *
 * SPDX-License-Identifier: Apache-2.0
 */

/**
 * Process changes received from the Golioth Settings Service and return a code
 * to Golioth to indicate the success or failure of the update.
 *
 * https://docs.golioth.io/firmware/zephyr-device-sdk/device-settings-service
 */

#ifndef __APP_SETTINGS_H__
#define __APP_SETTINGS_H__

#include <stdint.h>
#include <golioth/client.h>

int32_t get_loop_delay_s(void);
void app_settings_register(struct golioth_client *client);
int32_t get_gps_delay_s(void);
bool get_fake_gps_enabled_s(void);
float get_fake_gps_latitude_s(void);
float get_fake_gps_longitude_s(void);
int32_t get_vehicle_speed_delay_s(void);

#endif /* __APP_SETTINGS_H__ */
```

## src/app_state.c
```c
/*
 * Copyright (c) 2024 Golioth, Inc.
 *
 * SPDX-License-Identifier: Apache-2.0
 */

#include <zephyr/logging/log.h>
LOG_MODULE_REGISTER(app_state, LOG_LEVEL_DBG);

#include <golioth/client.h>
#include <golioth/lightdb_state.h>
#include <zephyr/data/json.h>
#include <zephyr/kernel.h>
#include "json_helper.h"

#include "app_state.h"
#include "app_sensors.h"

#define DEVICE_STATE_FMT "{\"example_int0\":%d,\"example_int1\":%d}"

uint32_t _example_int0;
uint32_t _example_int1 = 1;

static struct golioth_client *client;

static void async_handler(struct golioth_client *client,
			  enum golioth_status status,
			  const struct golioth_coap_rsp_code *coap_rsp_code,
			  const char *path,
			  void *arg)
{
	if (status != GOLIOTH_OK) {
		LOG_WRN("Failed to set state: %d", status);
		return;
	}

	LOG_DBG("State successfully set");
}

int app_state_reset_desired(void)
{
	LOG_INF("Resetting \"%s\" LightDB State endpoint to defaults.", APP_STATE_DESIRED_ENDP);

	char sbuf[sizeof(DEVICE_STATE_FMT) + 4]; /* space for two "-1" values */

	snprintk(sbuf, sizeof(sbuf), DEVICE_STATE_FMT, -1, -1);

	int err;
	err = golioth_lightdb_set_async(client,
					APP_STATE_DESIRED_ENDP,
					GOLIOTH_CONTENT_TYPE_JSON,
					sbuf,
					strlen(sbuf),
					async_handler,
					NULL);
	if (err) {
		LOG_ERR("Unable to write to LightDB State: %d", err);
	}
	return err;
}

int app_state_update_actual(void)
{

	char sbuf[sizeof(DEVICE_STATE_FMT) + 10]; /* space for uint16 values */

	snprintk(sbuf, sizeof(sbuf), DEVICE_STATE_FMT, _example_int0, _example_int1);

	int err;

	err = golioth_lightdb_set_async(client,
					APP_STATE_ACTUAL_ENDP,
					GOLIOTH_CONTENT_TYPE_JSON,
					sbuf,
					strlen(sbuf),
					async_handler,
					NULL);

	if (err) {
		LOG_ERR("Unable to write to LightDB State: %d", err);
	}
	return err;
}

static void app_state_desired_handler(struct golioth_client *client, enum golioth_status status,
				      const struct golioth_coap_rsp_code *coap_rsp_code,
				      const char *path, const uint8_t *payload, size_t payload_size,
				      void *arg)
{
	int err = 0;
	int ret;

	if (status != GOLIOTH_OK) {
		LOG_ERR("Failed to receive '%s' endpoint: %d", APP_STATE_DESIRED_ENDP, status);
		return;
	}

	LOG_HEXDUMP_DBG(payload, payload_size, APP_STATE_DESIRED_ENDP);

	struct app_state parsed_state;

	ret = json_obj_parse((char *)payload, payload_size, app_state_descr,
			     ARRAY_SIZE(app_state_descr), &parsed_state);

	if (ret < 0) {
		LOG_ERR("Error parsing desired values: %d", ret);
		app_state_reset_desired();
		return;
	}

	uint8_t desired_processed_count = 0;
	uint8_t state_change_count = 0;

	if (ret & 1 << 0) {
		/* Process example_int0 */
		if ((parsed_state.example_int0 >= 0) && (parsed_state.example_int0 < 65536)) {
			LOG_DBG("Validated desired example_int0 value: %d",
				parsed_state.example_int0);
			if (_example_int0 != parsed_state.example_int0) {
				_example_int0 = parsed_state.example_int0;
				++state_change_count;
			}
			++desired_processed_count;
		} else if (parsed_state.example_int0 == -1) {
			LOG_DBG("No change requested for example_int0");
		} else {
			LOG_ERR("Invalid desired example_int0 value: %d",
				parsed_state.example_int0);
			++desired_processed_count;
		}
	}
	if (ret & 1 << 1) {
		/* Process example_int1 */
		if ((parsed_state.example_int1 >= 0) && (parsed_state.example_int1 < 65536)) {
			LOG_DBG("Validated desired example_int1 value: %d",
				parsed_state.example_int1);
			if (_example_int1 != parsed_state.example_int1) {
				_example_int1 = parsed_state.example_int1;
				++state_change_count;
			}
			++desired_processed_count;
		} else if (parsed_state.example_int1 == -1) {
			LOG_DBG("No change requested for example_int1");
		} else {
			LOG_ERR("Invalid desired example_int1 value: %d",
				parsed_state.example_int1);
			++desired_processed_count;
		}
	}

	if (state_change_count) {
		/* The state was changed, so update the state on the Golioth servers */
		err = app_state_update_actual();
	}
	if (desired_processed_count) {
		/* We processed some desired changes to return these to -1 on the server
		 * to indicate the desired values were received.
		 */
		err = app_state_reset_desired();
	}

	if (err) {
		LOG_ERR("Failed to update cloud state: %d", err);
	}
}

int app_state_observe(struct golioth_client *state_client)
{
	int err;

	client = state_client;

	err = golioth_lightdb_observe_async(client,
					    APP_STATE_DESIRED_ENDP,
					    GOLIOTH_CONTENT_TYPE_JSON,
					    app_state_desired_handler,
					    NULL);
	if (err) {
		LOG_WRN("failed to observe lightdb path: %d", err);
		return err;
	}

	/* This will only run once. It updates the actual state of the device
	 * with the Golioth servers. Future updates will be sent whenever
	 * changes occur.
	 */
	err = app_state_update_actual();

	return err;
}
```

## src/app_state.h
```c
/*
 * Copyright (c) 2024 Golioth, Inc.
 *
 * SPDX-License-Identifier: Apache-2.0
 */

/** Observe and write to example endpoints for stateful data on the Golioth
 * LightDB State Service.
 *
 * This demonstration exhibits (the concept of Digital
 * Twin)[https://blog.golioth.io/better-iot-design-patterns-desired-state-vs-actual-state/].
 * It implements a _desired_ state which the cloud can set to request the device
 * change its state, and an _actual_ state where the device reports its state.
 *
 * After receiving and processing a desired state, the device will reset the
 * desired state (`APP_STATE_DESIRED_ENDP`) to `-1` indicating the data has been
 * processed, and update the actual state (`APP_STATE_ACTUAL_ENDP`) to report
 * the new state of the device.
 *
 * The device should write to the _actual state_ endpoint, the cloud should not.
 * By convention the cloud should consider the _actual state_ values read-only.
 *
 * https://docs.golioth.io/firmware/zephyr-device-sdk/light-db/
 */

#ifndef __APP_STATE_H__
#define __APP_STATE_H__

#include <golioth/client.h>

#define APP_STATE_DESIRED_ENDP "desired"
#define APP_STATE_ACTUAL_ENDP  "state"

int app_state_observe(struct golioth_client *state_client);
int app_state_update_actual(void);

#endif /* __APP_STATE_H__ */
```
